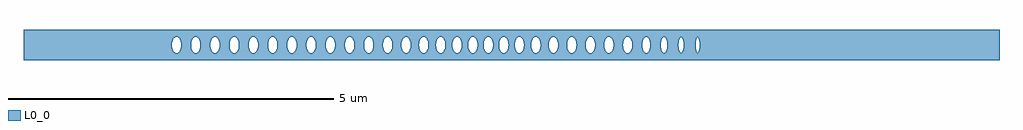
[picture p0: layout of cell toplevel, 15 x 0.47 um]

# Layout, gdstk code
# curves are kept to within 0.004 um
import gdstk
lib = gdstk.Library(unit=1e-6, precision=1e-09)
def P(c, l, *ps):  # polygons
    for p in ps: c.add(gdstk.Polygon(p, *l))
L0_0 = (0, 0)

toplevel = lib.new_cell('toplevel')
P(toplevel, L0_0, [(-4.629,0.016),(-4.623,0.054),(-4.607,0.093),(-4.607,0.234),(-7.5,0.234),(-7.5,-0.008),(-5.221,-0.008),(-5.216,0.047),(-5.198,0.093),(-5.175,0.119),(-5.148,0.128),(-5.114,0.112),(-5.09,0.075),(-5.078,0.032),(-5.077,-0.016),(-4.925,-0.016),(-4.922,0.039),(-4.909,0.081),(-4.888,0.112),(-4.853,0.128),(-4.826,0.119),(-4.803,0.093),(-4.785,0.047),(-4.78,0),(-4.785,-0.047),(-4.803,-0.093),(-4.826,-0.119),(-4.853,-0.128),(-4.879,-0.119),(-4.899,-0.098),(-4.914,-0.068),(-4.925,-0.016),(-5.077,-0.016),(-5.087,-0.068),(-5.102,-0.098),(-5.122,-0.119),(-5.148,-0.128),(-5.175,-0.119),(-5.195,-0.098),(-5.21,-0.068),(-5.221,-0.008),(-7.5,-0.008),(-7.5,-0.234),(-4.607,-0.234),(-4.607,-0.093),(-4.623,-0.054)],
  [(-4.6,0.103),(-4.584,0.119),(-4.557,0.128),(-4.522,0.112),(-4.496,0.068),(-4.485,-0.008),(-4.334,-0.008),(-4.329,0.047),(-4.308,0.098),(-4.284,0.121),(-4.261,0.128),(-4.248,0.125),(-4.223,0.108),(-4.203,0.075),(-4.191,0.032),(-4.189,-0.008),(-4.194,-0.047),(-4.212,-0.093),(-4.235,-0.119),(-4.261,-0.128),(-4.288,-0.119),(-4.308,-0.098),(-4.323,-0.068),(-4.334,-0.008),(-4.485,-0.008),(-4.501,-0.081),(-4.53,-0.119),(-4.557,-0.128),(-4.571,-0.125),(-4.592,-0.112),(-4.607,-0.093),(-4.607,-0.234),(-3.957,-0.234),(-3.957,-0.126),(-3.979,-0.125),(-4.005,-0.108),(-4.027,-0.068),(-4.038,-0.016),(-4.035,0.039),(-4.019,0.087),(-3.992,0.119),(-3.957,0.126),(-3.957,0.234),(-4.607,0.234),(-4.607,0.093)],
  [(-3.446,0.016),(-3.433,0.075),(-3.401,0.119),(-3.374,0.128),(-3.361,0.125),(-3.34,0.112),(-3.325,0.093),(-3.325,0.234),(-3.957,0.234),(-3.957,0.126),(-3.927,0.108),(-3.907,0.075),(-3.898,0.047),(-3.894,-0.016),(-3.742,-0.016),(-3.74,0.032),(-3.729,0.075),(-3.705,0.112),(-3.67,0.128),(-3.643,0.119),(-3.624,0.098),(-3.609,0.068),(-3.598,0.016),(-3.601,-0.039),(-3.614,-0.081),(-3.643,-0.119),(-3.67,-0.128),(-3.697,-0.119),(-3.72,-0.093),(-3.734,-0.061),(-3.742,-0.016),(-3.894,-0.016),(-3.898,-0.047),(-3.916,-0.093),(-3.939,-0.119),(-3.957,-0.126),(-3.957,-0.234),(-3.325,-0.234),(-3.325,-0.093),(-3.348,-0.119),(-3.365,-0.126),(-3.388,-0.125),(-3.409,-0.112),(-3.436,-0.068),(-3.446,-0.024)],
  [(-2.56,-0.008),(-2.559,0.234),(-3.325,0.234),(-3.325,0.093),(-3.307,0.047),(-3.303,-0.016),(-3.151,-0.016),(-3.148,0.039),(-3.135,0.081),(-3.114,0.112),(-3.079,0.128),(-3.052,0.119),(-3.029,0.093),(-3.011,0.047),(-3.007,-0.016),(-2.855,-0.016),(-2.853,0.032),(-2.842,0.075),(-2.818,0.112),(-2.783,0.128),(-2.756,0.119),(-2.737,0.098),(-2.724,0.075),(-2.711,0.016),(-2.713,-0.032),(-2.724,-0.075),(-2.748,-0.112),(-2.783,-0.128),(-2.81,-0.119),(-2.833,-0.093),(-2.847,-0.061),(-2.855,-0.016),(-3.007,-0.016),(-3.011,-0.047),(-3.029,-0.093),(-3.052,-0.119),(-3.079,-0.128),(-3.105,-0.119),(-3.125,-0.098),(-3.14,-0.068),(-3.151,-0.016),(-3.303,-0.016),(-3.307,-0.047),(-3.325,-0.093),(-3.325,-0.234),(-2.559,-0.234)],
  [(-1.975,0.016),(-1.969,0.054),(-1.953,0.093),(-1.938,0.112),(-1.917,0.125),(-1.917,0.234),(-2.559,0.234),(-2.559,0.024),(-2.549,0.068),(-2.534,0.098),(-2.514,0.119),(-2.487,0.128),(-2.453,0.112),(-2.429,0.075),(-2.417,0.032),(-2.416,-0.016),(-2.265,-0.016),(-2.263,0.032),(-2.252,0.075),(-2.228,0.112),(-2.193,0.128),(-2.166,0.119),(-2.143,0.093),(-2.127,0.054),(-2.121,0.016),(-2.123,-0.032),(-2.134,-0.075),(-2.158,-0.112),(-2.193,-0.128),(-2.22,-0.119),(-2.243,-0.093),(-2.265,-0.016),(-2.416,-0.016),(-2.426,-0.068),(-2.441,-0.098),(-2.461,-0.119),(-2.487,-0.128),(-2.514,-0.119),(-2.534,-0.098),(-2.549,-0.068),(-2.559,-0.024),(-2.559,-0.234),(-1.917,-0.234),(-1.917,-0.125),(-1.942,-0.108),(-1.962,-0.075),(-1.972,-0.039)],
  [(-1.908,0.127),(-1.876,0.119),(-1.85,0.087),(-1.834,0.039),(-1.831,-0.008),(-1.694,-0.008),(-1.689,0.047),(-1.671,0.093),(-1.648,0.119),(-1.621,0.128),(-1.608,0.125),(-1.582,0.108),(-1.565,0.081),(-1.552,0.039),(-1.549,-0.016),(-1.56,-0.068),(-1.575,-0.098),(-1.595,-0.119),(-1.621,-0.128),(-1.648,-0.119),(-1.671,-0.093),(-1.689,-0.047),(-1.694,-0.008),(-1.831,-0.008),(-1.842,-0.068),(-1.864,-0.108),(-1.89,-0.125),(-1.917,-0.125),(-1.917,-0.234),(-1.311,-0.234),(-1.311,-0.108),(-1.323,-0.119),(-1.349,-0.128),(-1.384,-0.112),(-1.411,-0.068),(-1.422,-0.008),(-1.411,0.068),(-1.388,0.108),(-1.376,0.119),(-1.349,0.128),(-1.323,0.119),(-1.311,0.108),(-1.311,0.234),(-1.917,0.234),(-1.917,0.125)],
  [(-1.278,-0.024),(-1.288,-0.068),(-1.311,-0.108),(-1.311,-0.234),(-0.662,-0.234),(-0.662,-0.047),(-0.667,-0.008),(-0.662,0.234),(-1.311,0.234),(-1.311,0.108),(-1.288,0.068),(-1.277,-0.008),(-1.161,-0.008),(-1.156,0.047),(-1.138,0.093),(-1.115,0.119),(-1.088,0.128),(-1.062,0.119),(-1.039,0.093),(-1.021,0.047),(-1.016,-0.008),(-0.91,-0.008),(-0.905,0.047),(-0.88,0.103),(-0.851,0.125),(-0.837,0.128),(-0.811,0.119),(-0.791,0.098),(-0.776,0.068),(-0.765,-0.008),(-0.779,-0.075),(-0.802,-0.112),(-0.819,-0.123),(-0.851,-0.125),(-0.88,-0.103),(-0.901,-0.061),(-0.91,-0.008),(-1.016,-0.008),(-1.021,-0.047),(-1.039,-0.093),(-1.062,-0.119),(-1.088,-0.128),(-1.115,-0.119),(-1.135,-0.098),(-1.15,-0.068),(-1.161,-0.008),(-1.277,-0.008)],
  [(-0.19,0.016),(-0.186,0.047),(-0.168,0.093),(-0.153,0.112),(-0.132,0.125),(-0.132,0.234),(-0.662,0.234),(-0.662,0.047),(-0.644,0.093),(-0.629,0.112),(-0.608,0.125),(-0.581,0.125),(-0.559,0.112),(-0.533,0.068),(-0.524,0.032),(-0.522,-0.016),(-0.428,-0.016),(-0.425,0.039),(-0.412,0.081),(-0.391,0.112),(-0.356,0.128),(-0.329,0.119),(-0.306,0.093),(-0.29,0.054),(-0.283,0),(-0.29,-0.054),(-0.306,-0.093),(-0.329,-0.119),(-0.356,-0.128),(-0.382,-0.119),(-0.402,-0.098),(-0.417,-0.068),(-0.428,-0.016),(-0.522,-0.016),(-0.533,-0.068),(-0.548,-0.098),(-0.568,-0.119),(-0.594,-0.128),(-0.621,-0.119),(-0.633,-0.108),(-0.662,-0.047),(-0.662,-0.234),(-0.132,-0.234),(-0.132,-0.125),(-0.157,-0.108),(-0.18,-0.068),(-0.19,-0.024)],
  [(0.304,0.016),(0.317,0.075),(0.34,0.112),(0.357,0.123),(0.375,0.128),(0.402,0.119),(0.434,0.075),(0.434,0.234),(-0.132,0.234),(-0.132,0.125),(-0.119,0.128),(-0.096,0.121),(-0.072,0.098),(-0.051,0.047),(-0.046,-0.008),(0.05,-0.008),(0.055,0.047),(0.073,0.093),(0.096,0.119),(0.122,0.128),(0.149,0.119),(0.169,0.098),(0.186,0.061),(0.195,0.008),(0.19,-0.047),(0.172,-0.093),(0.149,-0.119),(0.122,-0.128),(0.096,-0.119),(0.076,-0.098),(0.061,-0.068),(0.05,-0.008),(-0.046,-0.008),(-0.057,-0.068),(-0.072,-0.098),(-0.096,-0.121),(-0.119,-0.128),(-0.132,-0.125),(-0.132,-0.234),(0.434,-0.234),(0.434,-0.075),(0.402,-0.119),(0.375,-0.128),(0.349,-0.119),(0.329,-0.098),(0.314,-0.068),(0.304,-0.024)],
  [(1.14,0.016),(1.144,0.234),(0.434,0.234),(0.434,0.074),(0.443,0.047),(0.447,-0.016),(0.573,-0.016),(0.575,0.032),(0.586,0.075),(0.61,0.112),(0.645,0.128),(0.672,0.119),(0.698,0.087),(0.714,0.039),(0.717,-0.008),(0.854,-0.008),(0.859,0.047),(0.877,0.093),(0.9,0.119),(0.926,0.128),(0.953,0.119),(0.973,0.098),(0.988,0.068),(0.999,0.008),(0.994,-0.047),(0.976,-0.093),(0.953,-0.119),(0.926,-0.128),(0.9,-0.119),(0.88,-0.098),(0.865,-0.068),(0.854,-0.008),(0.717,-0.008),(0.714,-0.039),(0.698,-0.087),(0.672,-0.119),(0.645,-0.128),(0.618,-0.119),(0.595,-0.093),(0.581,-0.061),(0.573,-0.016),(0.447,-0.016),(0.434,-0.075),(0.434,-0.234),(1.144,-0.234)],
  [(1.714,0.016),(1.724,0.068),(1.755,0.115),(1.755,0.234),(1.144,0.234),(1.144,0.047),(1.173,0.108),(1.198,0.125),(1.221,0.126),(1.247,0.112),(1.268,0.081),(1.281,0.039),(1.284,-0.016),(1.425,-0.016),(1.428,0.039),(1.441,0.081),(1.47,0.119),(1.497,0.128),(1.524,0.119),(1.547,0.093),(1.563,0.054),(1.57,0),(1.563,-0.054),(1.547,-0.093),(1.524,-0.119),(1.497,-0.128),(1.47,-0.119),(1.451,-0.098),(1.436,-0.068),(1.425,-0.016),(1.284,-0.016),(1.273,-0.068),(1.258,-0.098),(1.238,-0.119),(1.212,-0.128),(1.185,-0.119),(1.173,-0.108),(1.144,-0.047),(1.144,-0.234),(1.755,-0.234),(1.755,-0.115),(1.724,-0.068),(1.714,-0.024)],
  [(1.767,0.123),(1.799,0.125),(1.82,0.112),(1.835,0.093),(1.853,0.047),(1.857,-0.016),(2.009,-0.016),(2.013,0.046),(2.028,0.092),(2.056,0.122),(2.087,0.122),(2.108,0.102),(2.124,0.067),(2.133,-0.016),(2.126,-0.061),(2.114,-0.092),(2.098,-0.114),(2.071,-0.126),(2.048,-0.117),(2.028,-0.092),(2.009,-0.016),(1.857,-0.016),(1.844,-0.075),(1.82,-0.112),(1.785,-0.128),(1.755,-0.115),(1.755,-0.234),(2.361,-0.234),(2.361,-0.118),(2.335,-0.122),(2.314,-0.1),(2.299,-0.06),(2.293,-0.016),(2.296,0.046),(2.314,0.1),(2.335,0.122),(2.361,0.118),(2.361,0.234),(1.755,0.234),(1.755,0.115)],
  [(2.395,-0.031),(2.383,-0.085),(2.361,-0.118),(2.361,-0.234),(7.5,-0.234),(7.5,0.234),(2.361,0.234),(2.361,0.118),(2.378,0.095),(2.389,0.066),(2.396,-0.015),(2.565,-0.015),(2.574,0.078),(2.584,0.103),(2.604,0.122),(2.625,0.11),(2.639,0.078),(2.648,-0.008),(2.829,-0.008),(2.835,0.071),(2.847,0.109),(2.859,0.12),(2.873,0.112),(2.88,0.097),(2.89,0.051),(2.893,0),(2.887,-0.071),(2.873,-0.112),(2.863,-0.12),(2.849,-0.112),(2.842,-0.097),(2.829,-0.008),(2.648,-0.008),(2.639,-0.078),(2.625,-0.11),(2.609,-0.122),(2.596,-0.118),(2.582,-0.099),(2.571,-0.065),(2.565,-0.015),(2.396,-0.015)])

lib.write_gds('toplevel.gds')
